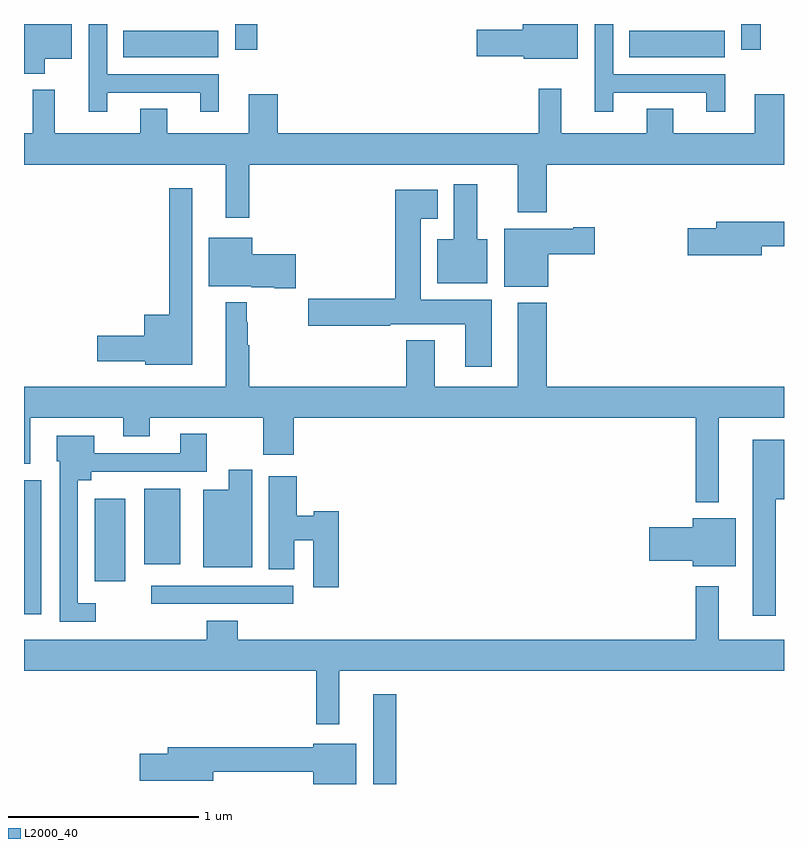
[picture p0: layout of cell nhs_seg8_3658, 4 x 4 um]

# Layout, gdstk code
import gdstk
lib = gdstk.Library(unit=1e-6, precision=1e-09)
def R(c, l, rs):  # rectangles x0, y0, x1, y1
    for r in rs: c.add(gdstk.rectangle(r[:2], r[2:], *l))
def P(c, l, *ps):  # polygons
    for p in ps: c.add(gdstk.Polygon(p, *l))
L2000_40 = (2000, 40)

nhs_seg8_3658 = lib.new_cell('nhs_seg8_3658')
R(nhs_seg8_3658, L2000_40, [(338.837,1119.9,338.959,1120.372), (337,1120.793,337.09,1121.5), (337.671,1120.848,338.416,1120.944), (337.373,1120.968,337.534,1121.401), (337.634,1121.057,337.822,1121.455), (337.522,1123.724,338.023,1123.864), (340.186,1123.724,340.687,1123.864), (338.112,1123.764,338.228,1123.9), (340.776,1123.764,340.877,1123.9)])
P(nhs_seg8_3658, L2000_40, [(339.915,1123.9),(339.626,1123.9),(339.626,1123.871),(339.384,1123.871),(339.384,1123.729),(339.63,1123.729),(339.63,1123.718),(339.915,1123.718)],
  [(340.102,1123.539),(340.592,1123.539),(340.592,1123.437),(340.69,1123.437),(340.69,1123.635),(340.101,1123.635),(340.101,1123.9),(340.005,1123.9),(340.005,1123.437),(340.102,1123.437)],
  [(337.108,1123.718),(337.251,1123.718),(337.251,1123.9),(337,1123.9),(337,1123.639),(337.108,1123.639)],
  [(337.438,1123.539),(337.928,1123.539),(337.928,1123.437),(338.026,1123.437),(338.026,1123.635),(337.437,1123.635),(337.437,1123.9),(337.341,1123.9),(337.341,1123.437),(337.438,1123.437)],
  [(338.185,1123.16),(339.599,1123.16),(339.599,1122.908),(339.752,1122.908),(339.752,1123.16),(341,1123.16),(341,1123.531),(340.847,1123.531),(340.847,1123.324),(340.417,1123.324),(340.417,1123.454),(340.277,1123.454),(340.277,1123.324),(339.827,1123.324),(339.827,1123.558),(339.709,1123.558),(339.709,1123.324),(338.336,1123.324),(338.336,1123.531),(338.183,1123.531),(338.183,1123.324),(337.753,1123.324),(337.753,1123.454),(337.613,1123.454),(337.613,1123.324),(337.163,1123.324),(337.163,1123.554),(337.045,1123.554),(337.045,1123.324),(337,1123.324),(337,1123.16),(338.063,1123.16),(338.063,1122.879),(338.185,1122.879)],
  [(339.439,1122.766),(339.385,1122.766),(339.385,1123.057),(339.263,1123.057),(339.263,1122.766),(339.176,1122.766),(339.176,1122.536),(339.439,1122.536)],
  [(337.885,1123.036),(337.764,1123.036),(337.764,1122.37),(337.634,1122.37),(337.634,1122.26),(337.386,1122.26),(337.386,1122.125),(337.638,1122.125),(337.638,1122.107),(337.885,1122.107)],
  [(339.463,1122.448),(339.088,1122.448),(339.088,1122.875),(339.178,1122.875),(339.178,1123.027),(338.954,1123.027),(338.954,1122.455),(338.608,1122.455),(338.608,1122.454),(338.496,1122.454),(338.496,1122.313),(338.927,1122.313),(338.927,1122.32),(339.323,1122.32),(339.323,1122.096),(339.463,1122.096)],
  [(340.882,1122.73),(341,1122.73),(341,1122.859),(340.643,1122.859),(340.643,1122.825),(340.494,1122.825),(340.494,1122.683),(340.882,1122.683)],
  [(339.76,1122.689),(340.003,1122.689),(340.003,1122.831),(339.89,1122.831),(339.89,1122.823),(339.527,1122.823),(339.527,1122.518),(339.76,1122.518)],
  [(338.431,1122.687),(338.2,1122.687),(338.2,1122.775),(337.973,1122.775),(337.973,1122.521),(338.196,1122.521),(338.196,1122.514),(338.318,1122.514),(338.318,1122.509),(338.431,1122.509)],
  [(338.173,1122.329),(338.173,1122.436),(338.063,1122.436),(338.063,1121.992),(337,1121.992),(337,1121.585),(337.033,1121.585),(337.033,1121.828),(337.523,1121.828),(337.523,1121.729),(337.663,1121.729),(337.663,1121.828),(338.26,1121.828),(338.26,1121.634),(338.42,1121.634),(338.42,1121.828),(340.536,1121.828),(340.536,1121.384),(340.657,1121.384),(340.657,1121.828),(341,1121.828),(341,1121.992),(339.752,1121.992),(339.752,1122.433),(339.599,1122.433),(339.599,1121.992),(339.163,1121.992),(339.163,1122.235),(339.011,1122.235),(339.011,1121.992),(338.185,1121.992),(338.185,1122.209),(338.177,1122.209),(338.177,1122.329)],
  [(337.378,1120.851),(337.284,1120.851),(337.284,1121.498),(337.354,1121.498),(337.354,1121.544),(337.963,1121.544),(337.963,1121.743),(337.823,1121.743),(337.823,1121.64),(337.369,1121.64),(337.369,1121.734),(337.172,1121.734),(337.172,1121.598),(337.188,1121.598),(337.188,1120.755),(337.378,1120.755)],
  [(340.957,1121.398),(341,1121.398),(341,1121.713),(340.835,1121.713),(340.835,1120.785),(340.957,1120.785)],
  [(338.2,1121.554),(338.078,1121.554),(338.078,1121.449),(337.943,1121.449),(337.943,1121.042),(338.2,1121.042)],
  [(338.657,1121.336),(338.526,1121.336),(338.526,1121.313),(338.435,1121.313),(338.435,1121.521),(338.288,1121.521),(338.288,1121.029),(338.422,1121.029),(338.422,1121.183),(338.522,1121.183),(338.522,1120.935),(338.657,1120.935)],
  [(340.747,1121.299),(340.52,1121.299),(340.52,1121.252),(340.29,1121.252),(340.29,1121.074),(340.52,1121.074),(340.52,1121.045),(340.747,1121.045)],
  [(338.659,1120.496),(341,1120.496),(341,1120.66),(340.657,1120.66),(340.657,1120.942),(340.536,1120.942),(340.536,1120.66),(338.126,1120.66),(338.126,1120.759),(337.961,1120.759),(337.961,1120.66),(337,1120.66),(337,1120.496),(338.538,1120.496),(338.538,1120.215),(338.659,1120.215)],
  [(338.749,1120.111),(338.522,1120.111),(338.522,1120.093),(337.757,1120.093),(337.757,1120.059),(337.608,1120.059),(337.608,1119.917),(337.996,1119.917),(337.996,1119.964),(338.522,1119.964),(338.522,1119.9),(338.749,1119.9)])

lib.write_gds('nhs_seg8_3658.gds')
